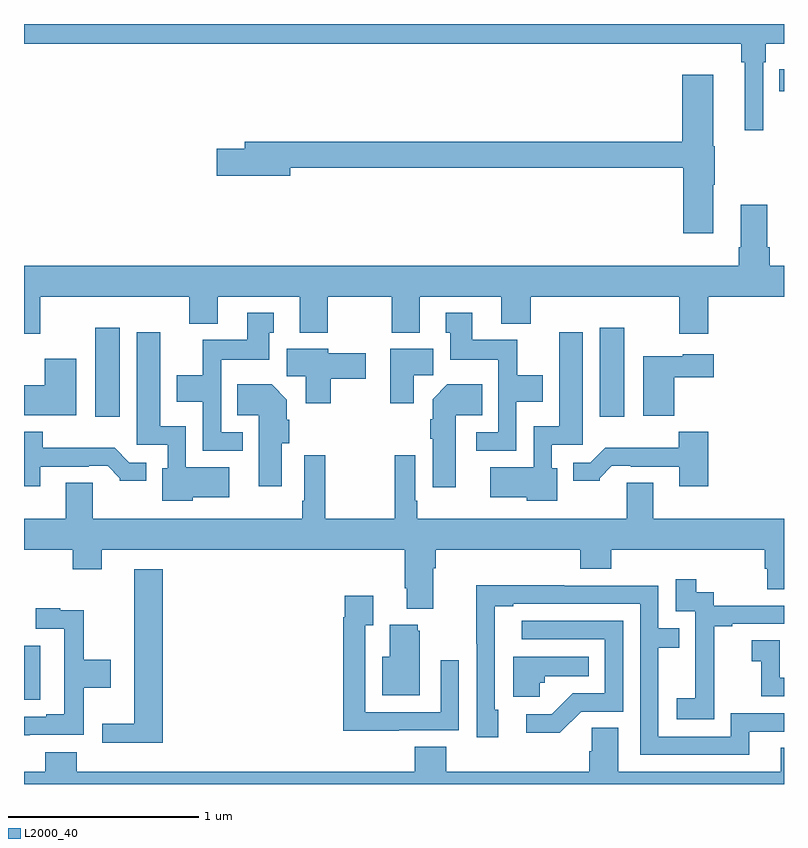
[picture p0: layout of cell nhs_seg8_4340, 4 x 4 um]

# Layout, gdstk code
import gdstk
lib = gdstk.Library(unit=1e-6, precision=1e-09)
def R(c, l, rs):  # rectangles x0, y0, x1, y1
    for r in rs: c.add(gdstk.rectangle(r[:2], r[2:], *l))
def P(c, l, *ps):  # polygons
    for p in ps: c.add(gdstk.Polygon(p, *l))
L2000_40 = (2000, 40)

nhs_seg8_4340 = lib.new_cell('nhs_seg8_4340')
R(nhs_seg8_4340, L2000_40, [(375,1150.343,375.085,1150.627), (375.374,1151.832,375.505,1152.301), (378.029,1151.832,378.16,1152.301), (378.976,1153.546,379,1153.662)])
P(nhs_seg8_4340, L2000_40, [(378.891,1153.7),(378.905,1153.7),(378.905,1153.796),(379,1153.796),(379,1153.9),(375,1153.9),(375,1153.796),(378.775,1153.796),(378.775,1153.7),(378.794,1153.7),(378.794,1153.341),(378.891,1153.341)],
  [(378.628,1153.055),(378.636,1153.055),(378.636,1153.257),(378.628,1153.257),(378.628,1153.633),(378.464,1153.633),(378.464,1153.28),(376.163,1153.28),(376.163,1153.244),(376.014,1153.244),(376.014,1153.102),(376.402,1153.102),(376.402,1153.144),(378.47,1153.144),(378.47,1152.798),(378.628,1152.798)],
  [(375.085,1152.464),(375.869,1152.464),(375.869,1152.323),(376.021,1152.323),(376.021,1152.464),(376.451,1152.464),(376.451,1152.275),(376.599,1152.275),(376.599,1152.464),(376.936,1152.464),(376.936,1152.275),(377.083,1152.275),(377.083,1152.464),(377.513,1152.464),(377.513,1152.323),(377.666,1152.323),(377.666,1152.464),(378.449,1152.464),(378.449,1152.27),(378.602,1152.27),(378.602,1152.464),(379,1152.464),(379,1152.628),(378.926,1152.628),(378.926,1152.724),(378.913,1152.724),(378.913,1152.949),(378.773,1152.949),(378.773,1152.724),(378.761,1152.724),(378.761,1152.628),(375,1152.628),(375,1152.27),(375.085,1152.27)],
  [(376.15,1151.751),(376.038,1151.751),(376.038,1152.134),(376.291,1152.134),(376.291,1152.276),(376.315,1152.276),(376.315,1152.379),(376.175,1152.379),(376.175,1152.238),(375.94,1152.238),(375.94,1152.052),(375.803,1152.052),(375.803,1151.912),(375.942,1151.912),(375.942,1151.655),(376.15,1151.655)],
  [(377.592,1151.912),(377.731,1151.912),(377.731,1152.052),(377.595,1152.052),(377.595,1152.238),(377.359,1152.238),(377.359,1152.379),(377.219,1152.379),(377.219,1152.276),(377.243,1152.276),(377.243,1152.134),(377.496,1152.134),(377.496,1151.751),(377.379,1151.751),(377.379,1151.655),(377.592,1151.655)],
  [(375.888,1151.408),(376.081,1151.408),(376.081,1151.566),(375.852,1151.566),(375.852,1151.782),(375.718,1151.782),(375.718,1152.277),(375.593,1152.277),(375.593,1151.685),(375.756,1151.685),(375.756,1151.562),(375.728,1151.562),(375.728,1151.39),(375.888,1151.39)],
  [(377.806,1151.562),(377.778,1151.562),(377.778,1151.685),(377.941,1151.685),(377.941,1152.277),(377.816,1152.277),(377.816,1151.782),(377.682,1151.782),(377.682,1151.566),(377.454,1151.566),(377.454,1151.408),(377.646,1151.408),(377.646,1151.39),(377.806,1151.39)],
  [(376.614,1152.032),(376.798,1152.032),(376.798,1152.166),(376.602,1152.166),(376.602,1152.19),(376.382,1152.19),(376.382,1152.046),(376.484,1152.046),(376.484,1151.904),(376.614,1151.904)],
  [(377.05,1152.052),(377.155,1152.052),(377.155,1152.19),(376.928,1152.19),(376.928,1151.904),(377.05,1151.904)],
  [(378.422,1152.041),(378.631,1152.041),(378.631,1152.163),(378.468,1152.163),(378.468,1152.151),(378.26,1152.151),(378.26,1151.837),(378.422,1151.837)],
  [(375.274,1152.139),(375.11,1152.139),(375.11,1151.998),(375,1151.998),(375,1151.84),(375.274,1151.84)],
  [(376.357,1151.694),(376.397,1151.694),(376.397,1151.816),(376.384,1151.816),(376.384,1151.923),(376.303,1152.004),(376.123,1152.004),(376.123,1151.84),(376.235,1151.84),(376.235,1151.466),(376.357,1151.466)],
  [(377.272,1151.84),(377.411,1151.84),(377.411,1152.004),(377.228,1152.004),(377.15,1151.926),(377.15,1151.819),(377.138,1151.819),(377.138,1151.716),(377.15,1151.716),(377.15,1151.463),(377.272,1151.463)],
  [(378.602,1151.755),(378.447,1151.755),(378.447,1151.671),(378.058,1151.671),(377.979,1151.592),(377.891,1151.592),(377.891,1151.495),(378.03,1151.495),(378.03,1151.51),(378.094,1151.574),(378.193,1151.574),(378.193,1151.571),(378.449,1151.571),(378.449,1151.466),(378.602,1151.466)],
  [(375.085,1151.571),(375.341,1151.571),(375.341,1151.574),(375.44,1151.574),(375.504,1151.51),(375.504,1151.495),(375.643,1151.495),(375.643,1151.592),(375.555,1151.592),(375.477,1151.671),(375.098,1151.671),(375.098,1151.755),(375,1151.755),(375,1151.466),(375.085,1151.466)],
  [(377.155,1151.036),(377.168,1151.036),(377.168,1151.132),(377.927,1151.132),(377.927,1151.033),(378.092,1151.033),(378.092,1151.132),(378.899,1151.132),(378.899,1151.034),(378.911,1151.034),(378.911,1150.924),(379,1150.924),(379,1151.296),(378.313,1151.296),(378.313,1151.486),(378.173,1151.486),(378.173,1151.296),(377.071,1151.296),(377.071,1151.392),(377.058,1151.392),(377.058,1151.629),(376.95,1151.629),(376.95,1151.296),(376.585,1151.296),(376.585,1151.629),(376.476,1151.629),(376.476,1151.392),(376.464,1151.392),(376.464,1151.296),(375.361,1151.296),(375.361,1151.486),(375.221,1151.486),(375.221,1151.296),(375,1151.296),(375,1151.132),(375.257,1151.132),(375.257,1151.03),(375.409,1151.03),(375.409,1151.132),(377.003,1151.132),(377.003,1150.93),(377.015,1150.93),(377.015,1150.823),(377.155,1150.823)],
  [(375.731,1151.029),(375.581,1151.029),(375.581,1150.217),(375.411,1150.217),(375.411,1150.118),(375.731,1150.118)],
  [(378.633,1150.447),(378.632,1150.447),(378.632,1150.731),(378.727,1150.731),(378.727,1150.743),(379,1150.743),(379,1150.839),(378.63,1150.839),(378.63,1150.908),(378.538,1150.908),(378.538,1150.978),(378.429,1150.978),(378.429,1150.809),(378.534,1150.809),(378.534,1150.58),(378.533,1150.58),(378.533,1150.351),(378.435,1150.351),(378.435,1150.241),(378.633,1150.241)],
  [(378.817,1150.176),(379,1150.176),(379,1150.272),(378.72,1150.272),(378.72,1150.149),(378.339,1150.149),(378.339,1150.618),(378.449,1150.618),(378.449,1150.719),(378.339,1150.719),(378.339,1150.944),(377.843,1150.944),(377.843,1150.946),(377.38,1150.946),(377.38,1150.639),(377.382,1150.639),(377.382,1150.146),(377.497,1150.146),(377.497,1150.29),(377.478,1150.29),(377.478,1150.836),(377.575,1150.836),(377.575,1150.848),(378.243,1150.848),(378.243,1150.053),(378.817,1150.053)],
  [(376.973,1150.182),(377.289,1150.182),(377.289,1150.552),(377.193,1150.552),(377.193,1150.278),(376.797,1150.278),(376.797,1150.735),(376.837,1150.735),(376.837,1150.891),(376.689,1150.891),(376.689,1150.778),(376.681,1150.778),(376.681,1150.181),(376.973,1150.181)],
  [(375.029,1150.158),(375.314,1150.158),(375.314,1150.406),(375.457,1150.406),(375.457,1150.554),(375.314,1150.554),(375.314,1150.814),(375.191,1150.814),(375.191,1150.825),(375.063,1150.825),(375.063,1150.716),(375.213,1150.716),(375.213,1150.267),(375.116,1150.267),(375.116,1150.254),(375,1150.254),(375,1150.157),(375.029,1150.157)],
  [(377.934,1150.281),(378.153,1150.281),(378.153,1150.758),(377.619,1150.758),(377.619,1150.662),(378.057,1150.662),(378.057,1150.377),(377.888,1150.377),(377.777,1150.266),(377.643,1150.266),(377.643,1150.169),(377.821,1150.169)],
  [(377.083,1150.707),(377.072,1150.707),(377.072,1150.738),(376.925,1150.738),(376.925,1150.57),(376.886,1150.57),(376.886,1150.367),(377.083,1150.367)],
  [(379,1150.458),(378.978,1150.458),(378.978,1150.657),(378.831,1150.657),(378.831,1150.547),(378.88,1150.547),(378.88,1150.362),(379,1150.362)],
  [(377.715,1150.434),(377.742,1150.434),(377.742,1150.466),(377.972,1150.466),(377.972,1150.57),(377.576,1150.57),(377.576,1150.358),(377.715,1150.358)],
  [(379,1150.091),(378.983,1150.091),(378.983,1149.964),(378.127,1149.964),(378.127,1150.196),(377.988,1150.196),(377.988,1150.073),(377.975,1150.073),(377.975,1149.964),(377.222,1149.964),(377.222,1150.097),(377.057,1150.097),(377.057,1149.964),(375.278,1149.964),(375.278,1150.066),(375.113,1150.066),(375.113,1149.964),(375,1149.964),(375,1149.9),(379,1149.9)])

lib.write_gds('nhs_seg8_4340.gds')
